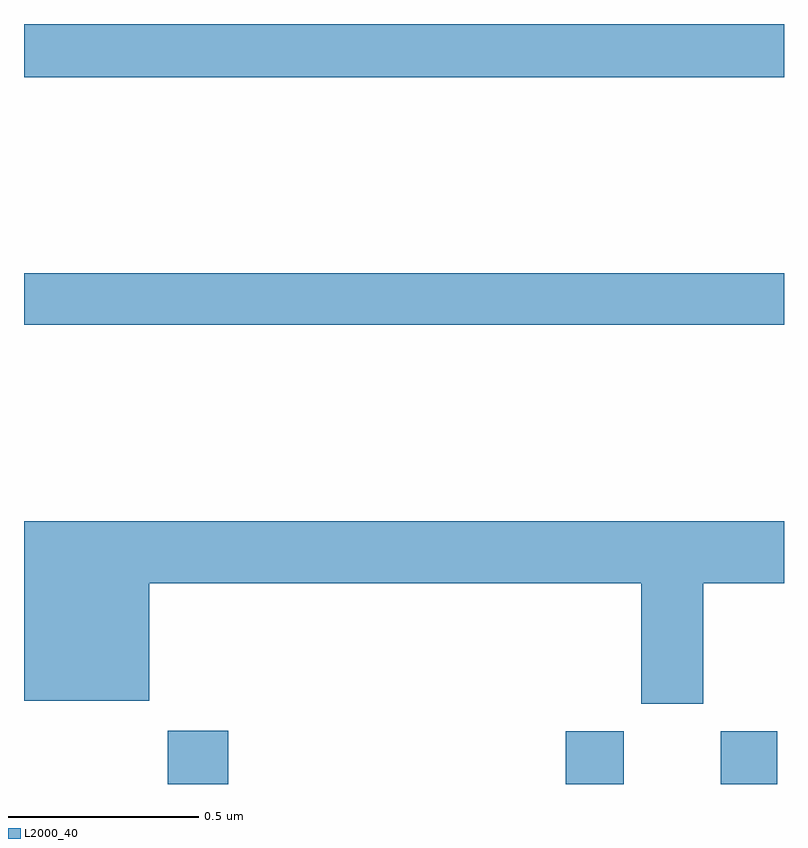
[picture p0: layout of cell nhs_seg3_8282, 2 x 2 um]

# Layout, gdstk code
import gdstk
lib = gdstk.Library(unit=1e-6, precision=1e-09)
def R(c, l, rs):  # rectangles x0, y0, x1, y1
    for r in rs: c.add(gdstk.rectangle(r[:2], r[2:], *l))
def P(c, l, *ps):  # polygons
    for p in ps: c.add(gdstk.Polygon(p, *l))
L2000_40 = (2000, 40)

nhs_seg3_8282 = lib.new_cell('nhs_seg3_8282')
R(nhs_seg3_8282, L2000_40, [(214.378,688.4,214.538,688.54), (215.426,688.4,215.578,688.539), (215.834,688.4,215.982,688.539), (214,689.608,216,689.744), (214,690.26,216,690.4)])
P(nhs_seg3_8282, L2000_40, [(215.788,688.928),(216,688.928),(216,689.092),(214,689.092),(214,688.619),(214.33,688.619),(214.33,688.928),(215.624,688.928),(215.624,688.611),(215.788,688.611)])

lib.write_gds('nhs_seg3_8282.gds')
